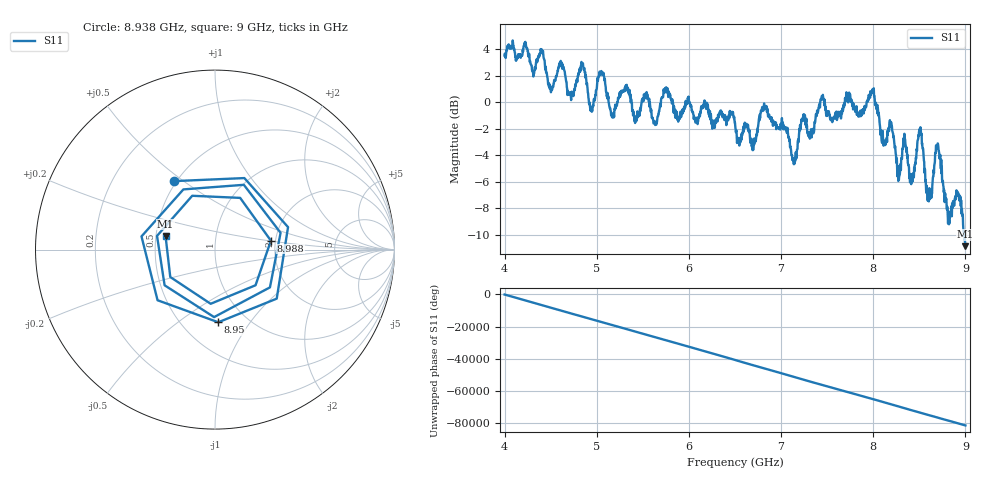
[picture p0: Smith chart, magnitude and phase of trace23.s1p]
! Created with skrf 1.8.0 (http://scikit-rf.org).
# Hz S RI R 50.0
!freq ReS11 ImS11
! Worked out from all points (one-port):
!   1601 points, 4 GHz to 9 GHz, reference 50 ohm
!   lowest |S11| = -10.9 dB at 9 GHz (marker M1), VSWR 1.80, Z = 28.1 + j4.67 ohm
!   |S11| at or under -10 dB: 8.987302 GHz to end of sweep
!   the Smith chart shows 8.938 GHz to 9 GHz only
!   S11 on the Smith chart (normalised r, x): 8.938 GHz: 0.49, +0.46; 8.95 GHz: 0.74, -0.72; 8.988 GHz: 1.89, +0.21; 9 GHz: 0.56, +0.09
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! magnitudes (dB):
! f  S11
! 4 GHz  3.5
! 4.503 GHz  0.7
! 4.625 GHz  2.5
! 4.722 GHz  0.2
! 4.85 GHz  2.9
! 4.938 GHz  -0.6
! 5.05 GHz  2.3
! 5.162 GHz  -0.9
! 5.25 GHz  0.7
! 5.875 GHz  -1.3
! 6.5 GHz  -1.6
! 6.706 GHz  -3.0
! 6.825 GHz  -0.4
! 7.125 GHz  -4.3
! 7.441 GHz  0.5
! 7.75 GHz  0.6
! 7.991 GHz  0.9
! 8.275 GHz  -4.8
! 8.375 GHz  -4.6
! 8.422 GHz  -6.0
! 8.506 GHz  -2.2
! 8.597 GHz  -7.1
! 8.697 GHz  -3.5
! 8.822 GHz  -9.2
! 8.938 GHz  -7.1
! 8.95 GHz  -7.8
! 8.988 GHz  -10.0
! 9 GHz  -10.9
